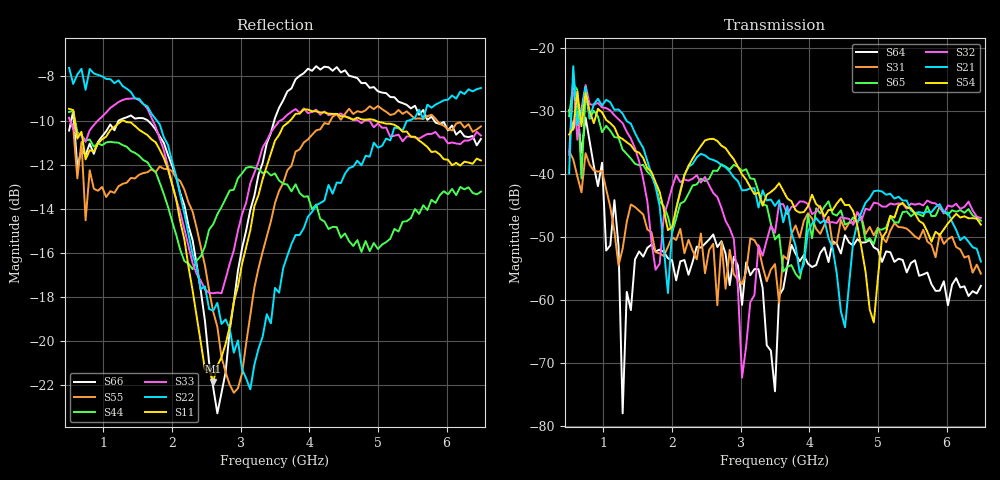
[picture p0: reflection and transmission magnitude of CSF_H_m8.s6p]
!Keysight Technologies,M9804A,MY58100912,A.14.10.03
!Date: Thursday, April 27, 2023 10:28:33
!Correction: S11(C  6-Port  )
!S12(C  6-Port  )
!S13(C  6-Port  )
!S14(C  6-Port  )
!S15(C  6-Port  )
!S16(C  6-Port  )
!S21(C  6-Port  )
!S22(C  6-Port  )
!S23(C  6-Port  )
!S24(C  6-Port  )
!S25(C  6-Port  )
!S26(C  6-Port  )
!S31(C  6-Port  )
!S32(C  6-Port  )
!S33(C  6-Port  )
!S34(C  6-Port  )
!S35(C  6-Port  )
!S36(C  6-Port  )
!S41(C  6-Port  )
!S42(C  6-Port  )
!S43(C  6-Port  )
!S44(C  6-Port  )
!S45(C  6-Port  )
!S46(C  6-Port  )
!S51(C  6-Port  )
!S52(C  6-Port  )
!S53(C  6-Port  )
!S54(C  6-Port  )
!S55(C  6-Port  )
!S56(C  6-Port  )
!S61(C  6-Port  )
!S62(C  6-Port  )
!S63(C  6-Port  )
!S64(C  6-Port  )
!S65(C  6-Port  )
!S66(C  6-Port  )
!S6P File: Measurement: :
# Hz S  RI  R 50
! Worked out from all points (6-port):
!   101 points, 500 MHz to 6.5 GHz, reference 50 ohm
!   strongest paths, dB at 500 MHz, 2 GHz, 3.5 GHz, 5 GHz, 6.5 GHz:
!     S54: -33.8, -48.4, -42.3, -56.4, -48.0
!     S21: -39.9, -49.1, -45.1, -42.6, -53.9
!     S32: -37.0, -42.1, -49.3, -44.7, -47.0
!     S65: -30.8, -49.3, -50.4, -48.8, -47.4
!     S31: -36.4, -50.0, -54.3, -48.5, -55.8
!     S64: -29.9, -53.7, -74.4, -52.0, -57.7
!   lowest |S11| = -21.8 dB at 2.6 GHz (marker M1), VSWR 1.18, Z = 42.7 + j1.9 ohm
!   |S11| at or under -10 dB: 581.9 MHz to 1.273 GHz (691.4 MHz wide, 74.5 % of centre); 1.291 GHz to 3.72 GHz (2.429 GHz wide, 96.9 % of centre); 4.96 GHz to end of sweep
